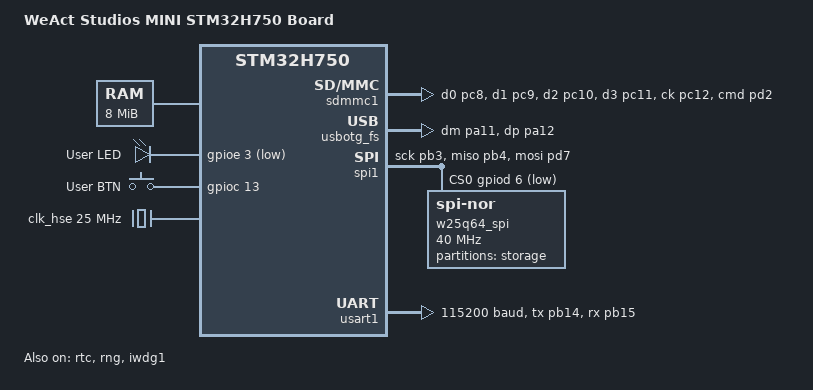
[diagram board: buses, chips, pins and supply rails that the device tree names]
/*
 * Copyright (c) 2023-2024 STMicroelectronics
 *
 * SPDX-License-Identifier: Apache-2.0
 */

/dts-v1/;
#include <st/h7/stm32h750Xb.dtsi>
#include <st/h7/stm32h750vbtx-pinctrl.dtsi>
#include <zephyr/dt-bindings/input/input-event-codes.h>
#include <zephyr/dt-bindings/mipi_dbi/mipi_dbi.h>

/ {
	model = "WeAct Studios MINI STM32H750 Board";
	compatible = "weact,mini-stm32h750";

	chosen {
		zephyr,console = &usart1;
		zephyr,shell-uart = &usart1;
		zephyr,sram = &sram0;
		zephyr,flash = &ext_memory;
	};

	ext_memory: memory@90000000 {
		compatible = "zephyr,memory-region";
		reg = <0x90000000 DT_SIZE_M(8)>;
		zephyr,memory-region = "EXTMEM";
		zephyr,memory-attr = <( DT_MEM_ARM(ATTR_MPU_IO) )>;
	};

	leds {
		compatible = "gpio-leds";
		user_led: led {
			gpios = <&gpioe 3 GPIO_ACTIVE_LOW>;
			label = "User LED";
		};
	};

	gpio_keys {
		compatible = "gpio-keys";
		user_button: button {
			label = "User BTN";
			gpios = <&gpioc 13 (GPIO_ACTIVE_HIGH | GPIO_PULL_DOWN)>;
			zephyr,code = <INPUT_KEY_0>;
		};
	};

	aliases {
		led0 = &user_led;
		sw0 = &user_button;
		watchdog0 = &iwdg;
		sdhc0 = &sdmmc1;
	};
};

&clk_lsi {
	status = "okay";
};

&clk_hsi48 {
	status = "okay";
};

&clk_hse {
	clock-frequency = <DT_FREQ_M(25)>;
	status = "okay";
};

&clk_lse {
	status = "okay";
};

&pll {
	div-m = <5>;
	mul-n = <192>;
	div-p = <2>;
	div-q = <4>;
	div-r = <4>;
	clocks = <&clk_hse>;
	status = "okay";
};

&rcc {
	clocks = <&pll>;
	clock-frequency = <DT_FREQ_M(480)>;
	d1cpre = <1>;
	hpre = <2>;
	d1ppre = <2>;
	d2ppre1 = <2>;
	d2ppre2 = <2>;
	d3ppre = <2>;
};

&sdmmc1 {
	pinctrl-0 = <&sdmmc1_d0_pc8 &sdmmc1_d1_pc9
		     &sdmmc1_d2_pc10 &sdmmc1_d3_pc11
		     &sdmmc1_ck_pc12 &sdmmc1_cmd_pd2>;
	pinctrl-names = "default";
	cd-gpios = <&gpiod 4 (GPIO_ACTIVE_HIGH | GPIO_PULL_UP)>;
	status = "okay";
};

zephyr_udc0: &usbotg_fs {
	pinctrl-0 = <&usb_otg_fs_dm_pa11 &usb_otg_fs_dp_pa12>;
	pinctrl-names = "default";
	status = "okay";

	usb_cdc_acm_uart: cdc_acm_uart {
		compatible = "zephyr,cdc-acm-uart";
	};
};

&spi1 {
	pinctrl-0 = <&spi1_sck_pb3 &spi1_miso_pb4 &spi1_mosi_pd7>;
	cs-gpios = <&gpiod 6 GPIO_ACTIVE_LOW>;
	pinctrl-names = "default";
	status = "okay";
	w25q64_spi: spi-nor-flash@0 {
		compatible = "jedec,spi-nor";
		reg = <0>;
		spi-max-frequency = <40000000>;
		size = <DT_SIZE_M(64)>; /* 64 Mbits */
		status = "okay";
		jedec-id = [ef 40 17];
		has-dpd;
		t-enter-dpd = <3500>;
		t-exit-dpd = <3500>;
		partitions {
			compatible = "fixed-partitions";
			#address-cells = <1>;
			#size-cells = <1>;
			storage_partition: partition@0 {
				label = "storage";
				reg = <0x00000000 DT_SIZE_M(8)>;
			};
		};
	};
};


&usart1 {
	pinctrl-0 = <&usart1_tx_pb14 &usart1_rx_pb15>;
	pinctrl-names = "default";
	current-speed = <115200>;
	status = "okay";
};

&rtc {
	clocks = <&rcc STM32_CLOCK_BUS_APB4 0x00010000>,
		 <&rcc STM32_SRC_LSE RTC_SEL(1)>;
	status = "okay";
};

&rng {
	status = "okay";
};

&backup_sram {
	status = "okay";
};

&iwdg1 {
	status = "okay";
};
